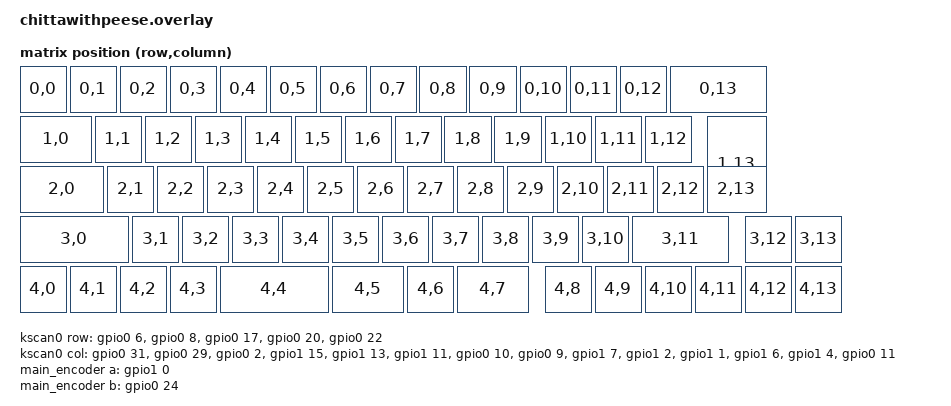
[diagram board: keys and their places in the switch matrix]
#include <dt-bindings/zmk/matrix_transform.h>
#include <physical_layouts.dtsi>

/ {
    chosen {
        zmk,kscan = &kscan0;
        zmk,physical-layout = &physical_layout0;
    };

    default_transform: keymap_transform0 {
        compatible = "zmk,matrix-transform";
        columns = <14>;
        rows = <5>;
        map = <
RC(0,0) RC(0,1) RC(0,2) RC(0,3) RC(0,4) RC(0,5) RC(0,6) RC(0,7) RC(0,8) RC(0,9) RC(0,10) RC(0,11) RC(0,12) RC(0,13)
RC(1,0) RC(1,1) RC(1,2) RC(1,3) RC(1,4) RC(1,5) RC(1,6) RC(1,7) RC(1,8) RC(1,9) RC(1,10) RC(1,11) RC(1,12) RC(1,13)
RC(2,0) RC(2,1) RC(2,2) RC(2,3) RC(2,4) RC(2,5) RC(2,6) RC(2,7) RC(2,8) RC(2,9) RC(2,10) RC(2,11) RC(2,12) RC(2,13)
RC(3,0) RC(3,1) RC(3,2) RC(3,3) RC(3,4) RC(3,5) RC(3,6) RC(3,7) RC(3,8) RC(3,9) RC(3,10) RC(3,11) RC(3,12) RC(3,13)
RC(4,0) RC(4,1) RC(4,2) RC(4,3) RC(4,4) RC(4,5) RC(4,6) RC(4,7) RC(4,8) RC(4,9) RC(4,10) RC(4,11) RC(4,12) RC(4,13)
        >;
    };

    physical_layout0: physical_layout_0 {
        compatible = "zmk,physical-layout";
        display-name = "Default Layout";
        transform = <&default_transform>;
        kscan = <&kscan0>;
        keys  //                     w   h    x    y     rot    rx    ry
            // Row 0: Esc, 1-9, 0, -, =, Backspace(2u)
            = <&key_physical_attrs 100 100    0    0       0     0     0>
            , <&key_physical_attrs 100 100  100    0       0     0     0>
            , <&key_physical_attrs 100 100  200    0       0     0     0>
            , <&key_physical_attrs 100 100  300    0       0     0     0>
            , <&key_physical_attrs 100 100  400    0       0     0     0>
            , <&key_physical_attrs 100 100  500    0       0     0     0>
            , <&key_physical_attrs 100 100  600    0       0     0     0>
            , <&key_physical_attrs 100 100  700    0       0     0     0>
            , <&key_physical_attrs 100 100  800    0       0     0     0>
            , <&key_physical_attrs 100 100  900    0       0     0     0>
            , <&key_physical_attrs 100 100 1000    0       0     0     0>
            , <&key_physical_attrs 100 100 1100    0       0     0     0>
            , <&key_physical_attrs 100 100 1200    0       0     0     0>
            , <&key_physical_attrs 200 100 1300    0       0     0     0>
            // Row 1: Tab(1.5u), Q-], ISO Enter(1.25u wide, 2u tall)
            , <&key_physical_attrs 150 100    0  100       0     0     0>
            , <&key_physical_attrs 100 100  150  100       0     0     0>
            , <&key_physical_attrs 100 100  250  100       0     0     0>
            , <&key_physical_attrs 100 100  350  100       0     0     0>
            , <&key_physical_attrs 100 100  450  100       0     0     0>
            , <&key_physical_attrs 100 100  550  100       0     0     0>
            , <&key_physical_attrs 100 100  650  100       0     0     0>
            , <&key_physical_attrs 100 100  750  100       0     0     0>
            , <&key_physical_attrs 100 100  850  100       0     0     0>
            , <&key_physical_attrs 100 100  950  100       0     0     0>
            , <&key_physical_attrs 100 100 1050  100       0     0     0>
            , <&key_physical_attrs 100 100 1150  100       0     0     0>
            , <&key_physical_attrs 100 100 1250  100       0     0     0>
            , <&key_physical_attrs 125 200 1375  100       0     0     0>
            // Row 2: CapsLock(1.75u), A-#, (ISO enter area)
            , <&key_physical_attrs 175 100    0  200       0     0     0>
            , <&key_physical_attrs 100 100  175  200       0     0     0>
            , <&key_physical_attrs 100 100  275  200       0     0     0>
            , <&key_physical_attrs 100 100  375  200       0     0     0>
            , <&key_physical_attrs 100 100  475  200       0     0     0>
            , <&key_physical_attrs 100 100  575  200       0     0     0>
            , <&key_physical_attrs 100 100  675  200       0     0     0>
            , <&key_physical_attrs 100 100  775  200       0     0     0>
            , <&key_physical_attrs 100 100  875  200       0     0     0>
            , <&key_physical_attrs 100 100  975  200       0     0     0>
            , <&key_physical_attrs 100 100 1075  200       0     0     0>
            , <&key_physical_attrs 100 100 1175  200       0     0     0>
            , <&key_physical_attrs 100 100 1275  200       0     0     0>
            , <&key_physical_attrs 125 100 1375  200       0     0     0>
            // Row 3: LShift(2.25u), Z-/, RShift(2u), Up, (encoder/layer)
            , <&key_physical_attrs 225 100    0  300       0     0     0>
            , <&key_physical_attrs 100 100  225  300       0     0     0>
            , <&key_physical_attrs 100 100  325  300       0     0     0>
            , <&key_physical_attrs 100 100  425  300       0     0     0>
            , <&key_physical_attrs 100 100  525  300       0     0     0>
            , <&key_physical_attrs 100 100  625  300       0     0     0>
            , <&key_physical_attrs 100 100  725  300       0     0     0>
            , <&key_physical_attrs 100 100  825  300       0     0     0>
            , <&key_physical_attrs 100 100  925  300       0     0     0>
            , <&key_physical_attrs 100 100 1025  300       0     0     0>
            , <&key_physical_attrs 100 100 1125  300       0     0     0>
            , <&key_physical_attrs 200 100 1225  300       0     0     0>
            , <&key_physical_attrs 100 100 1450  300       0     0     0>
            , <&key_physical_attrs 100 100 1550  300       0     0     0>
            // Row 4: Ctrl, Fn, Win, Alt, Space(2.25u), CtrlBksp(1.5u), Layer, Bksp(1.5u), Notes-Right
            , <&key_physical_attrs 100 100    0  400       0     0     0>
            , <&key_physical_attrs 100 100  100  400       0     0     0>
            , <&key_physical_attrs 100 100  200  400       0     0     0>
            , <&key_physical_attrs 100 100  300  400       0     0     0>
            , <&key_physical_attrs 225 100  400  400       0     0     0>
            , <&key_physical_attrs 150 100  625  400       0     0     0>
            , <&key_physical_attrs 100 100  775  400       0     0     0>
            , <&key_physical_attrs 150 100  875  400       0     0     0>
            , <&key_physical_attrs 100 100 1050  400       0     0     0>
            , <&key_physical_attrs 100 100 1150  400       0     0     0>
            , <&key_physical_attrs 100 100 1250  400       0     0     0>
            , <&key_physical_attrs 100 100 1350  400       0     0     0>
            , <&key_physical_attrs 100 100 1450  400       0     0     0>
            , <&key_physical_attrs 100 100 1550  400       0     0     0>
            ;
    };

    kscan0: kscan {
        compatible = "zmk,kscan-gpio-matrix";
        diode-direction = "row2col";

        row-gpios
            = <&gpio0 6  (GPIO_ACTIVE_HIGH | GPIO_PULL_DOWN)>
            , <&gpio0 8  (GPIO_ACTIVE_HIGH | GPIO_PULL_DOWN)>
            , <&gpio0 17 (GPIO_ACTIVE_HIGH | GPIO_PULL_DOWN)>
            , <&gpio0 20 (GPIO_ACTIVE_HIGH | GPIO_PULL_DOWN)>
            , <&gpio0 22 (GPIO_ACTIVE_HIGH | GPIO_PULL_DOWN)>
            ;

        col-gpios
            = <&gpio0 31 (GPIO_ACTIVE_HIGH | GPIO_PULL_DOWN)>
            , <&gpio0 29 (GPIO_ACTIVE_HIGH | GPIO_PULL_DOWN)>
            , <&gpio0 2  (GPIO_ACTIVE_HIGH | GPIO_PULL_DOWN)>
            , <&gpio1 15 (GPIO_ACTIVE_HIGH | GPIO_PULL_DOWN)>
            , <&gpio1 13 (GPIO_ACTIVE_HIGH | GPIO_PULL_DOWN)>
            , <&gpio1 11 (GPIO_ACTIVE_HIGH | GPIO_PULL_DOWN)>
            , <&gpio0 10 (GPIO_ACTIVE_HIGH | GPIO_PULL_DOWN)>
            , <&gpio0 9  (GPIO_ACTIVE_HIGH | GPIO_PULL_DOWN)>
            , <&gpio1 7  (GPIO_ACTIVE_HIGH | GPIO_PULL_DOWN)>
            , <&gpio1 2  (GPIO_ACTIVE_HIGH | GPIO_PULL_DOWN)>
            , <&gpio1 1  (GPIO_ACTIVE_HIGH | GPIO_PULL_DOWN)>
            , <&gpio1 6  (GPIO_ACTIVE_HIGH | GPIO_PULL_DOWN)>
            , <&gpio1 4  (GPIO_ACTIVE_HIGH | GPIO_PULL_DOWN)>
            , <&gpio0 11 (GPIO_ACTIVE_HIGH | GPIO_PULL_DOWN)>
            ;
    };

    main_encoder: encoder {
        compatible = "alps,ec11";
        a-gpios = <&gpio1 0 (GPIO_ACTIVE_HIGH | GPIO_PULL_UP)>;
        b-gpios = <&gpio0 24 (GPIO_ACTIVE_HIGH | GPIO_PULL_UP)>;
        steps = <80>;
        status = "okay";
    };

    sensors: sensors {
        compatible = "zmk,keymap-sensors";
        sensors = <&main_encoder>;
        triggers-per-rotation = <20>;
    };
};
